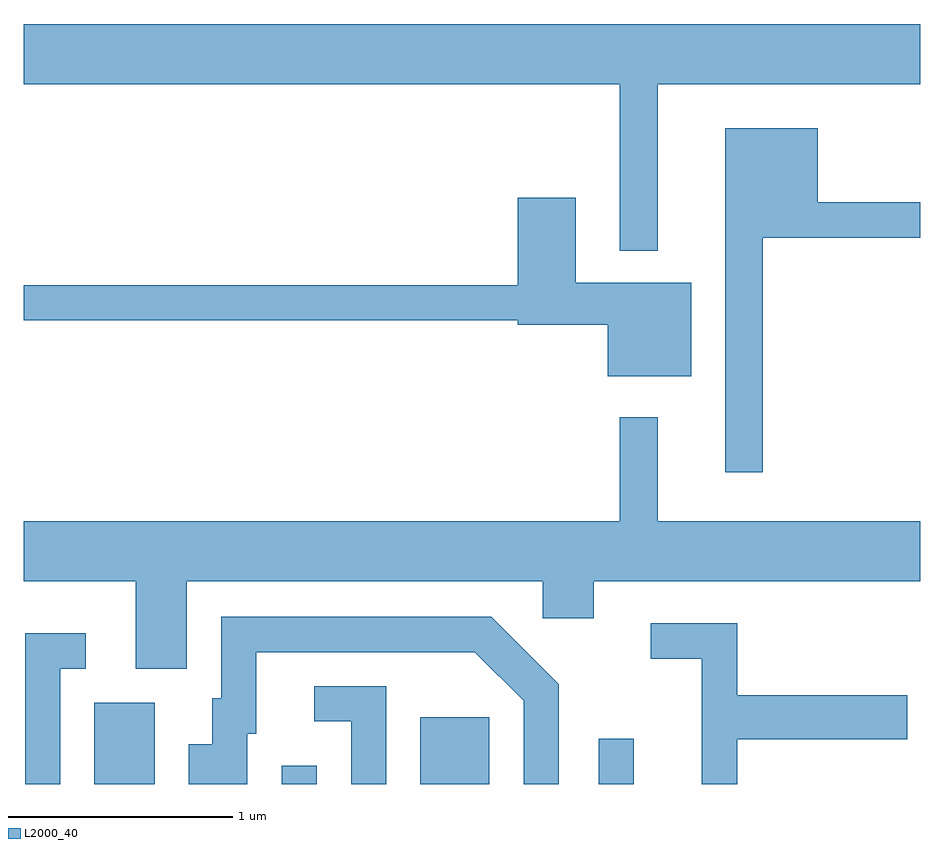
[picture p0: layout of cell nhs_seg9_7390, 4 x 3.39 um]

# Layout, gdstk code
import gdstk
lib = gdstk.Library(unit=1e-6, precision=1e-09)
def R(c, l, rs):  # rectangles x0, y0, x1, y1
    for r in rs: c.add(gdstk.rectangle(r[:2], r[2:], *l))
def P(c, l, *ps):  # polygons
    for p in ps: c.add(gdstk.Polygon(p, *l))
L2000_40 = (2000, 40)

nhs_seg9_7390 = lib.new_cell('nhs_seg9_7390')
R(nhs_seg9_7390, L2000_40, [(403.926,2026.432,404.194,2026.794), (404.761,2026.432,404.919,2026.513), (405.381,2026.432,405.689,2026.729), (406.176,2026.432,406.334,2026.633)])
P(nhs_seg9_7390, L2000_40, [(406.439,2029.556),(407.611,2029.556),(407.611,2029.824),(403.611,2029.824),(403.611,2029.556),(406.271,2029.556),(406.271,2028.813),(406.439,2028.813)],
  [(406.909,2028.871),(407.611,2028.871),(407.611,2029.029),(407.154,2029.029),(407.154,2029.359),(406.741,2029.359),(406.741,2027.823),(406.909,2027.823)],
  [(406.589,2028.669),(406.074,2028.669),(406.074,2029.049),(405.816,2029.049),(405.816,2028.659),(403.611,2028.659),(403.611,2028.501),(405.816,2028.501),(405.816,2028.481),(406.216,2028.481),(406.216,2028.251),(406.589,2028.251)],
  [(404.339,2027.336),(405.926,2027.336),(405.926,2027.171),(406.154,2027.171),(406.154,2027.336),(407.611,2027.336),(407.611,2027.604),(406.439,2027.604),(406.439,2028.068),(406.271,2028.068),(406.271,2027.604),(403.611,2027.604),(403.611,2027.336),(404.111,2027.336),(404.111,2026.946),(404.339,2026.946)],
  [(404.609,2026.656),(404.649,2026.656),(404.649,2027.021),(405.624,2027.021),(405.841,2026.804),(405.841,2026.432),(405.999,2026.432),(405.999,2026.877),(405.697,2027.179),(404.491,2027.179),(404.491,2026.814),(404.451,2026.814),(404.451,2026.609),(404.346,2026.609),(404.346,2026.432),(404.609,2026.432)],
  [(406.794,2026.631),(407.554,2026.631),(407.554,2026.829),(406.794,2026.829),(406.794,2027.149),(406.408,2027.149),(406.408,2026.991),(406.636,2026.991),(406.636,2026.432),(406.794,2026.432)],
  [(403.774,2026.946),(403.888,2026.946),(403.888,2027.104),(403.616,2027.104),(403.616,2026.432),(403.774,2026.432)],
  [(405.229,2026.869),(404.908,2026.869),(404.908,2026.711),(405.071,2026.711),(405.071,2026.432),(405.229,2026.432)])

lib.write_gds('nhs_seg9_7390.gds')
